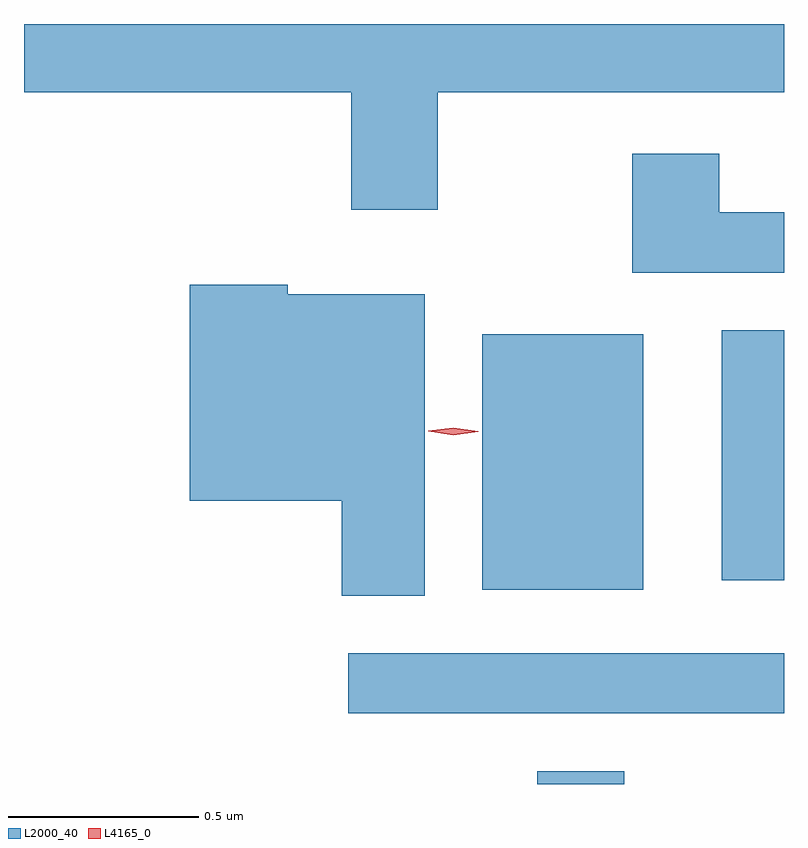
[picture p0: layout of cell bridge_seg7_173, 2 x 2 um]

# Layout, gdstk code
import gdstk
lib = gdstk.Library(unit=1e-6, precision=1e-09)
def R(c, l, rs):  # rectangles x0, y0, x1, y1
    for r in rs: c.add(gdstk.rectangle(r[:2], r[2:], *l))
def P(c, l, *ps):  # polygons
    for p in ps: c.add(gdstk.Polygon(p, *l))
L2000_40 = (2000, 40)
L4165_0 = (4165, 0)

bridge_seg7_173 = lib.new_cell('bridge_seg7_173')
R(bridge_seg7_173, L2000_40, [(1655.851,1725.815,1656.079,1725.849), (1655.353,1726.001,1656.5,1726.159), (1655.706,1726.326,1656.129,1726.999), (1656.336,1726.351,1656.5,1727.009)])
P(bridge_seg7_173, L2000_40, [(1655.589,1727.636),(1656.5,1727.636),(1656.5,1727.815),(1654.5,1727.815),(1654.5,1727.636),(1655.361,1727.636),(1655.361,1727.326),(1655.589,1727.326)],
  [(1656.5,1727.319),(1656.329,1727.319),(1656.329,1727.474),(1656.101,1727.474),(1656.101,1727.161),(1656.5,1727.161)],
  [(1655.554,1727.104),(1655.194,1727.104),(1655.194,1727.129),(1654.936,1727.129),(1654.936,1726.561),(1655.336,1726.561),(1655.336,1726.311),(1655.554,1726.311)])
P(bridge_seg7_173, L4165_0, [(1655.63,1726.733),(1655.564,1726.743),(1655.564,1726.744),(1655.564,1726.744),(1655.63,1726.753),(1655.696,1726.743),(1655.696,1726.743),(1655.696,1726.742)])

lib.write_gds('bridge_seg7_173.gds')
